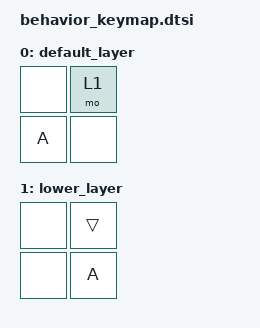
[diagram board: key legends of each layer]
#include <dt-bindings/zmk/keys.h>
#include <behaviors.dtsi>
#include <dt-bindings/zmk/kscan_mock.h>

/ {
    keymap {
        compatible = "zmk,keymap";

        default_layer {
            bindings = <
                &none &mo 1
                &kp A &none>;
        };

        lower_layer {
            bindings = <
                &none &trans
                &none  &kp A>;
        };
    };
};
